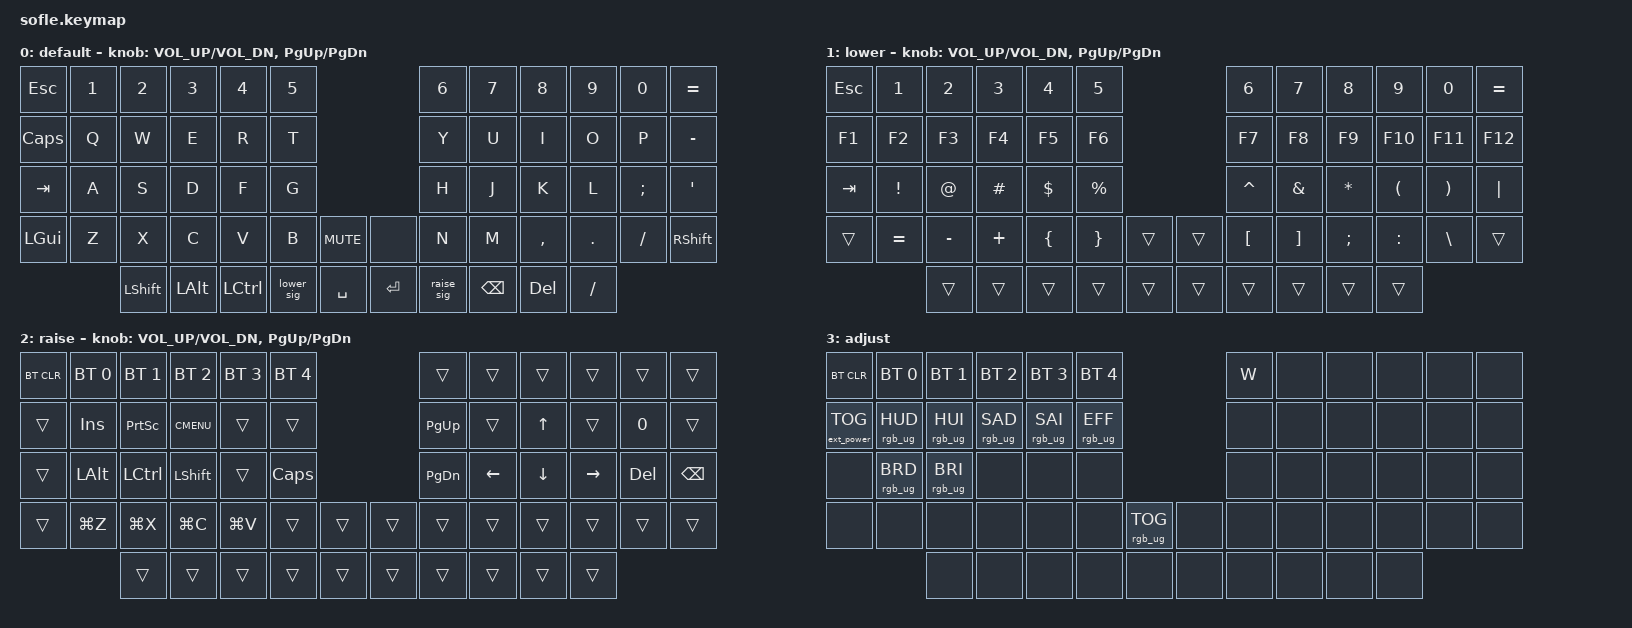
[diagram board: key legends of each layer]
/*
 * Sofle keymap (ZMK v0.3).
 *
 * The layout the keyboard had in ZMK Studio on 2026-09-26, which started from ZMK's stock Sofle keymap, with
 * two changes:
 *   - LOWER / RAISE also tell the Mac when they're held (for zmkaid, the on-screen layer overlay).
 *   - RAISE's Undo / Cut / Copy / Paste send ⌘Z / ⌘X / ⌘C / ⌘V (the PC editing keys do nothing on a Mac).
 *
 * After flashing, click "Restore Stock Settings" in ZMK Studio so this file is used instead of Studio's saved
 * copy of the old keymap.
 */

#include <behaviors.dtsi>
#include <dt-bindings/zmk/keys.h>
#include <dt-bindings/zmk/bt.h>
#include <dt-bindings/zmk/rgb.h>
#include <dt-bindings/zmk/ext_power.h>

#define BASE 0
#define LOWER 1
#define RAISE 2
#define ADJUST 3

/ {
    // Hold LOWER + RAISE together for ADJUST.
    conditional_layers {
        compatible = "zmk,conditional-layers";
        adjust_layer {
            if-layers = <LOWER RAISE>;
            then-layer = <ADJUST>;
        };
    };

    // Momentary LOWER / RAISE that also tap an unused key when the layer turns on and off, so zmkaid on the
    // Mac can show the right layer: F16 / F17 = LOWER on / off, F18 / F19 = RAISE on / off.
    // The layer turns on first, so typing is never delayed.
    macros {
        lower_sig: lower_sig {
            compatible = "zmk,behavior-macro";
            display-name = "Lower (zmkaid)";
            #binding-cells = <0>;
            wait-ms = <0>;
            tap-ms = <5>;
            bindings
                = <&macro_press &mo LOWER>
                , <&macro_tap &kp F16>
                , <&macro_pause_for_release>
                , <&macro_release &mo LOWER>
                , <&macro_tap &kp F17>
                ;
        };

        raise_sig: raise_sig {
            compatible = "zmk,behavior-macro";
            display-name = "Raise (zmkaid)";
            #binding-cells = <0>;
            wait-ms = <0>;
            tap-ms = <5>;
            bindings
                = <&macro_press &mo RAISE>
                , <&macro_tap &kp F18>
                , <&macro_pause_for_release>
                , <&macro_release &mo RAISE>
                , <&macro_tap &kp F19>
                ;
        };
    };

    keymap {
        compatible = "zmk,keymap";

        default_layer {
            display-name = "default";
// ------------------------------------------------------------------------------------------------------------
// |  ESC  |  1  |  2  |  3   |  4   |  5   |                   |  6   |  7    |  8    |  9   |   0   |   =   |
// | CAPS  |  Q  |  W  |  E   |  R   |  T   |                   |  Y   |  U    |  I    |  O   |   P   |   -   |
// |  TAB  |  A  |  S  |  D   |  F   |  G   |                   |  H   |  J    |  K    |  L   |   ;   |   '   |
// |  GUI  |  Z  |  X  |  C   |  V   |  B   |  MUTE  |  |       |  N   |  M    |  ,    |  .   |   /   | SHIFT |
//               |SHIFT| ALT  | CTRL | LOWER|  SPACE |  | ENTER | RAISE| BKSPC | DEL   |  /   |
            bindings = <
&kp ESC   &kp N1 &kp N2    &kp N3   &kp N4    &kp N5                            &kp N6 &kp N7     &kp N8    &kp N9  &kp N0   &kp EQUAL
&kp CAPS  &kp Q  &kp W     &kp E    &kp R     &kp T                             &kp Y  &kp U      &kp I     &kp O   &kp P    &kp MINUS
&kp TAB   &kp A  &kp S     &kp D    &kp F     &kp G                             &kp H  &kp J      &kp K     &kp L   &kp SEMI &kp SQT
&kp LGUI  &kp Z  &kp X     &kp C    &kp V     &kp B      &kp C_MUTE &none       &kp N  &kp M      &kp COMMA &kp DOT &kp FSLH &kp RSHFT
                 &kp LSHFT &kp LALT &kp LCTRL &lower_sig &kp SPACE  &kp RET     &raise_sig &kp BSPC &kp DEL &kp FSLH
            >;

            sensor-bindings = <&inc_dec_kp C_VOL_UP C_VOL_DN &inc_dec_kp PG_UP PG_DN>;
        };

        lower_layer {
            display-name = "lower";
// ------------------------------------------------------------------------------------------------------------
// |  ESC  |  1  |  2  |  3   |  4   |  5   |                   |  6   |  7    |  8    |  9   |   0   |   =   |
// |  F1   |  F2 |  F3 |  F4  |  F5  |  F6  |                   |  F7  |  F8   |  F9   |  F10 |  F11  |  F12  |
// |  TAB  |  !  |  @  |  #   |  $   |  %   |                   |  ^   |  &    |  *    |  (   |   )   |   |   |
// |       |  =  |  -  |  +   |  {   |  }   |        |  |       |  [   |  ]    |  ;    |  :   |   \   |       |
//               |     |      |      |      |        |  |       |      |       |       |      |
            bindings = <
&kp ESC   &kp N1    &kp N2    &kp N3   &kp N4   &kp N5                      &kp N6    &kp N7   &kp N8    &kp N9    &kp N0   &kp EQUAL
&kp F1    &kp F2    &kp F3    &kp F4   &kp F5   &kp F6                      &kp F7    &kp F8   &kp F9    &kp F10   &kp F11  &kp F12
&kp TAB   &kp EXCL  &kp AT    &kp HASH &kp DLLR &kp PRCNT                   &kp CARET &kp AMPS &kp ASTRK &kp LPAR  &kp RPAR &kp PIPE
&trans    &kp EQUAL &kp MINUS &kp PLUS &kp LBRC &kp RBRC  &trans &trans     &kp LBKT  &kp RBKT &kp SEMI  &kp COLON &kp BSLH &trans
                    &trans    &trans   &trans   &trans    &trans &trans     &trans    &trans   &trans    &trans
            >;

            sensor-bindings = <&inc_dec_kp C_VOL_UP C_VOL_DN &inc_dec_kp PG_UP PG_DN>;
        };

        raise_layer {
            display-name = "raise";
// ------------------------------------------------------------------------------------------------------------
// | BTCLR | BT1  | BT2  |  BT3  |  BT4  |  BT5 |                |      |      |       |      |       |       |
// |       | INS  | PSCR | MENU  |       |      |                | PGUP |      |   ↑   |      |   0   |       |
// |       | ALT  | CTRL | SHIFT |       | CAPS |                | PGDN |  ←   |   ↓   |  →   |  DEL  | BKSPC |
// |       | ⌘Z   | ⌘X   | ⌘C    | ⌘V    |      |      |  |      |      |      |       |      |       |       |
//                |      |       |       |      |      |  |      |      |      |       |      |
            bindings = <
&bt BT_CLR &bt BT_SEL 0 &bt BT_SEL 1 &bt BT_SEL 2 &bt BT_SEL 3 &bt BT_SEL 4                  &trans    &trans    &trans   &trans    &trans  &trans
&trans     &kp INS      &kp PSCRN    &kp K_CMENU  &trans       &trans                        &kp PG_UP &trans    &kp UP   &trans    &kp N0  &trans
&trans     &kp LALT     &kp LCTRL    &kp LSHFT    &trans       &kp CLCK                      &kp PG_DN &kp LEFT  &kp DOWN &kp RIGHT &kp DEL &kp BSPC
&trans     &kp LG(Z)    &kp LG(X)    &kp LG(C)    &kp LG(V)    &trans        &trans  &trans  &trans    &trans    &trans   &trans    &trans  &trans
                        &trans       &trans       &trans       &trans        &trans  &trans  &trans    &trans    &trans   &trans
            >;

            sensor-bindings = <&inc_dec_kp C_VOL_UP C_VOL_DN &inc_dec_kp PG_UP PG_DN>;
        };

        adjust_layer {
            display-name = "adjust";
// ----------------------------------------------------------------------------------------------------------------------------
// | BTCLR  |  BT1    |  BT2    |   BT3   |   BT4   |   BT5   |                  |  W   |      |       |      |       |       |
// | EXTPWR | RGB_HUD | RGB_HUI | RGB_SAD | RGB_SAI | RGB_EFF |                  |      |      |       |      |       |       |
// |        | RGB_BRD | RGB_BRI |         |         |         |                  |      |      |       |      |       |       |
// |        |         |         |         |         |         | RGB_TOG | |      |      |      |       |      |       |       |
//                    |         |         |         |         |         | |      |      |      |       |      |
// (The W was in ZMK Studio's copy of this layer, probably by accident; replace it with &none to remove it.)
            bindings = <
&bt BT_CLR        &bt BT_SEL 0    &bt BT_SEL 1    &bt BT_SEL 2    &bt BT_SEL 3    &bt BT_SEL 4                            &kp W &none &none &none &none &none
&ext_power EP_TOG &rgb_ug RGB_HUD &rgb_ug RGB_HUI &rgb_ug RGB_SAD &rgb_ug RGB_SAI &rgb_ug RGB_EFF                         &none &none &none &none &none &none
&none             &rgb_ug RGB_BRD &rgb_ug RGB_BRI &none           &none           &none                                   &none &none &none &none &none &none
&none             &none           &none           &none           &none           &none            &rgb_ug RGB_TOG &none  &none &none &none &none &none &none
                                  &none           &none           &none           &none            &none           &none  &none &none &none &none
            >;
        };
    };
};
